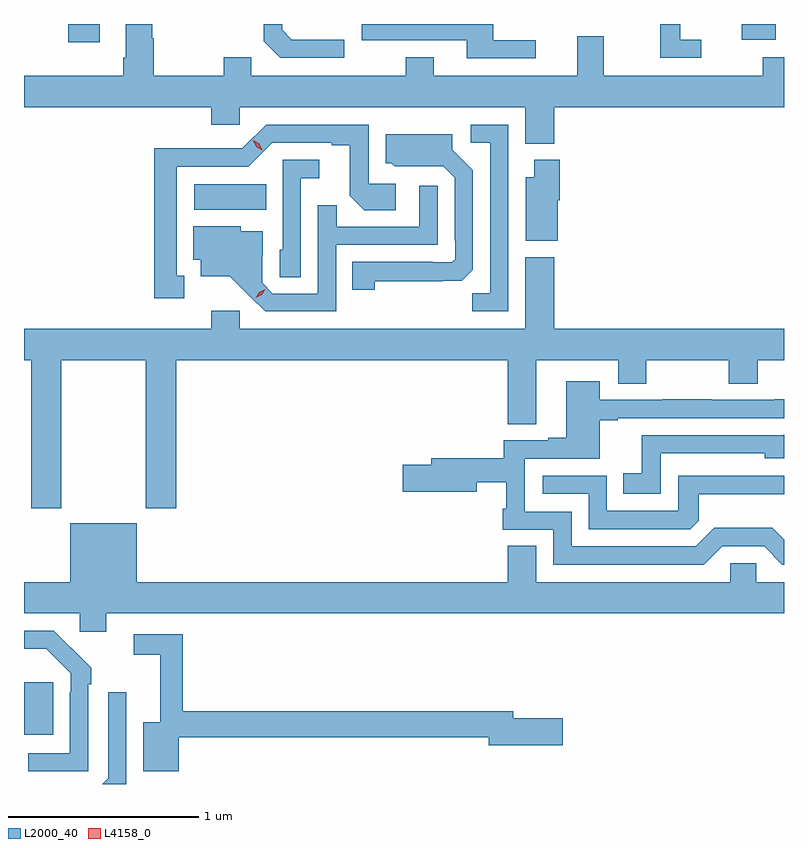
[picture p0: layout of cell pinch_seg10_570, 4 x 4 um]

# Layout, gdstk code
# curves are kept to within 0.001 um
import gdstk
lib = gdstk.Library(unit=1e-6, precision=1e-09)
def R(c, l, rs):  # rectangles x0, y0, x1, y1
    for r in rs: c.add(gdstk.rectangle(r[:2], r[2:], *l))
def P(c, l, *ps):  # polygons
    for p in ps: c.add(gdstk.Polygon(p, *l))
L2000_40 = (2000, 40)
L4158_0 = (4158, 0)

pinch_seg10_570 = lib.new_cell('pinch_seg10_570')
R(pinch_seg10_570, L2000_40, [(291.436,1277.033,291.589,1277.308), (292.332,1279.796,292.712,1279.93), (291.668,1280.676,291.835,1280.773), (295.214,1280.69,295.393,1280.773), (292.236,1280.771,292.613,1280.773)])
P(pinch_seg10_570, L2000_40, [(295,1280.691),(294.889,1280.691),(294.889,1280.773),(294.785,1280.773),(294.785,1280.595),(295,1280.595)],
  [(293.122,1280.691),(292.845,1280.691),(292.794,1280.742),(292.794,1280.773),(292.698,1280.773),(292.698,1280.682),(292.785,1280.595),(293.122,1280.595)],
  [(294.13,1280.688),(293.905,1280.688),(293.905,1280.773),(293.214,1280.773),(293.214,1280.688),(293.765,1280.688),(293.765,1280.592),(294.13,1280.592)],
  [(294.227,1280.336),(295.436,1280.336),(295.436,1280.599),(295.324,1280.599),(295.324,1280.5),(294.487,1280.5),(294.487,1280.708),(294.347,1280.708),(294.347,1280.5),(293.593,1280.5),(293.593,1280.599),(293.446,1280.599),(293.446,1280.5),(292.632,1280.5),(292.632,1280.599),(292.486,1280.599),(292.486,1280.5),(292.119,1280.5),(292.119,1280.699),(292.111,1280.699),(292.111,1280.773),(291.971,1280.773),(291.971,1280.596),(291.959,1280.596),(291.959,1280.5),(291.436,1280.5),(291.436,1280.336),(292.421,1280.336),(292.421,1280.243),(292.572,1280.243),(292.572,1280.336),(294.074,1280.336),(294.074,1280.144),(294.227,1280.144)],
  [(292.279,1279.449),(292.24,1279.449),(292.24,1280.022),(292.617,1280.022),(292.743,1280.148),(293.057,1280.148),(293.057,1280.136),(293.151,1280.136),(293.151,1279.868),(293.227,1279.792),(293.392,1279.792),(293.392,1279.932),(293.25,1279.932),(293.25,1280.244),(292.71,1280.244),(292.584,1280.118),(292.362,1280.118),(292.362,1280.12),(292.122,1280.12),(292.122,1279.329),(292.279,1279.329)],
  [(293.985,1280.244),(293.787,1280.244),(293.787,1280.148),(293.889,1280.148),(293.889,1279.355),(293.794,1279.355),(293.794,1279.26),(293.985,1279.26)],
  [(293.283,1279.42),(293.74,1279.421),(293.799,1279.48),(293.799,1280.002),(293.689,1280.112),(293.689,1280.194),(293.339,1280.194),(293.339,1280.04),(293.37,1280.04),(293.386,1280.024),(293.643,1280.025),(293.703,1279.965),(293.703,1279.636),(293.706,1279.636),(293.706,1279.536),(293.688,1279.518),(293.588,1279.518),(293.588,1279.521),(293.164,1279.521),(293.164,1279.374),(293.283,1279.374)],
  [(294.244,1279.845),(294.257,1279.845),(294.257,1280.059),(294.122,1280.059),(294.122,1279.966),(294.077,1279.966),(294.077,1279.631),(294.244,1279.631)],
  [(292.893,1279.961),(292.99,1279.961),(292.99,1280.058),(292.797,1280.058),(292.797,1279.584),(292.782,1279.584),(292.782,1279.441),(292.893,1279.441)],
  [(293.079,1279.611),(293.613,1279.611),(293.613,1279.921),(293.517,1279.921),(293.517,1279.707),(293.081,1279.707),(293.081,1279.82),(292.983,1279.82),(292.983,1279.353),(292.746,1279.353),(292.689,1279.41),(292.689,1279.552),(292.693,1279.552),(292.693,1279.681),(292.578,1279.681),(292.578,1279.708),(292.328,1279.708),(292.328,1279.532),(292.367,1279.532),(292.367,1279.445),(292.519,1279.445),(292.706,1279.26),(293.079,1279.26)],
  [(291.633,1279.004),(292.078,1279.004),(292.078,1278.225),(292.238,1278.225),(292.238,1279.004),(293.981,1279.004),(293.981,1278.667),(294.133,1278.667),(294.133,1279.004),(294.563,1279.004),(294.563,1278.88),(294.711,1278.88),(294.711,1279.004),(295.144,1279.004),(295.144,1278.88),(295.299,1278.88),(295.299,1279.004),(295.436,1279.004),(295.436,1279.168),(294.227,1279.168),(294.227,1279.546),(294.074,1279.546),(294.074,1279.168),(292.572,1279.168),(292.572,1279.264),(292.421,1279.264),(292.421,1279.168),(291.436,1279.168),(291.436,1279.004),(291.473,1279.004),(291.473,1278.225),(291.633,1278.225)],
  [(295.11,1278.024),(295.332,1278.024),(295.428,1277.928),(295.436,1277.928),(295.436,1278.058),(295.373,1278.122),(295.07,1278.122),(294.972,1278.024),(294.318,1278.024),(294.318,1278.207),(294.072,1278.207),(294.072,1278.486),(294.466,1278.486),(294.466,1278.687),(294.562,1278.687),(294.562,1278.699),(295.436,1278.699),(295.436,1278.797),(295.387,1278.797),(295.387,1278.795),(295.055,1278.795),(295.055,1278.797),(294.799,1278.797),(294.799,1278.795),(294.466,1278.795),(294.466,1278.892),(294.29,1278.892),(294.29,1278.595),(294.194,1278.595),(294.194,1278.582),(293.96,1278.582),(293.96,1278.488),(293.579,1278.488),(293.579,1278.452),(293.43,1278.452),(293.43,1278.31),(293.818,1278.31),(293.818,1278.36),(293.975,1278.36),(293.975,1278.221),(293.956,1278.221),(293.956,1278.111),(294.222,1278.111),(294.222,1277.928),(295.014,1277.928)],
  [(294.786,1278.513),(295.335,1278.513),(295.335,1278.488),(295.436,1278.488),(295.436,1278.61),(295.435,1278.61),(295.435,1278.609),(294.688,1278.609),(294.688,1278.409),(294.589,1278.409),(294.589,1278.3),(294.786,1278.3)],
  [(294.987,1278.159),(294.987,1278.299),(295.436,1278.299),(295.436,1278.396),(294.879,1278.396),(294.879,1278.21),(294.504,1278.21),(294.504,1278.396),(294.165,1278.396),(294.165,1278.3),(294.408,1278.3),(294.408,1278.114),(294.942,1278.114)],
  [(291.868,1277.672),(295.436,1277.672),(295.436,1277.836),(295.29,1277.836),(295.29,1277.934),(295.152,1277.934),(295.152,1277.836),(294.133,1277.836),(294.133,1278.026),(293.981,1278.026),(293.981,1277.836),(292.03,1277.836),(292.03,1278.145),(291.68,1278.145),(291.68,1277.836),(291.436,1277.836),(291.436,1277.672),(291.729,1277.672),(291.729,1277.574),(291.868,1277.574)],
  [(291.774,1277.297),(291.789,1277.297),(291.789,1277.385),(291.592,1277.58),(291.436,1277.58),(291.436,1277.484),(291.553,1277.484),(291.681,1277.355),(291.681,1277.255),(291.678,1277.255),(291.678,1276.935),(291.459,1276.935),(291.459,1276.839),(291.774,1276.839)],
  [(292.251,1277.02),(293.882,1277.02),(293.882,1276.978),(294.271,1276.978),(294.271,1277.12),(294.01,1277.12),(294.01,1277.156),(292.271,1277.156),(292.271,1277.562),(292.014,1277.562),(292.014,1277.454),(292.154,1277.454),(292.154,1277.098),(292.064,1277.098),(292.064,1276.841),(292.251,1276.841)],
  [(291.975,1277.257),(291.879,1277.257),(291.879,1276.803),(291.849,1276.773),(291.975,1276.773)])
P(pinch_seg10_570, L4158_0, [(292.656,1279.332),(292.656,1279.333),(292.674,1279.362),(292.705,1279.377),(292.706,1279.377),(292.706,1279.377),(292.688,1279.347),(292.657,1279.332)],
  [(292.69,1280.109),(292.659,1280.128),(292.642,1280.161),(292.642,1280.162),(292.642,1280.162),(292.674,1280.142),(292.691,1280.109),(292.691,1280.109)])

lib.write_gds('pinch_seg10_570.gds')
